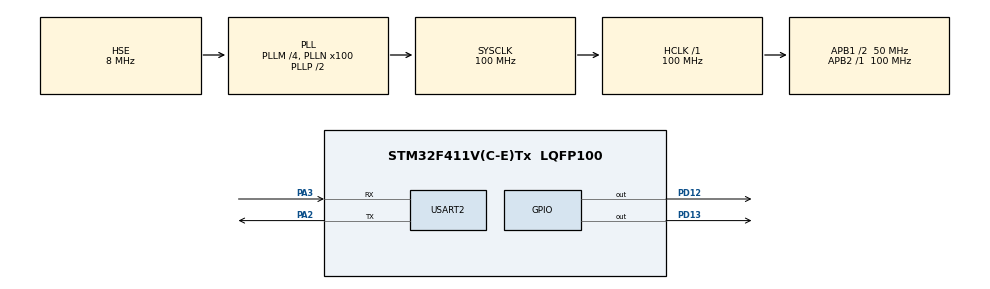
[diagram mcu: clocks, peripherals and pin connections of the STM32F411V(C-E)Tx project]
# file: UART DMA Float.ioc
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Dma.Request0=USART2_RX
Dma.Request1=USART2_TX
Dma.USART2_RX.0.Direction=DMA_PERIPH_TO_MEMORY
Dma.USART2_RX.0.FIFOMode=DMA_FIFOMODE_DISABLE
Dma.USART2_RX.0.Instance=DMA1_Stream5
Dma.USART2_RX.0.MemDataAlignment=DMA_MDATAALIGN_BYTE
Dma.USART2_RX.0.MemInc=DMA_MINC_ENABLE
Dma.USART2_RX.0.Mode=DMA_CIRCULAR
Dma.USART2_RX.0.PeriphDataAlignment=DMA_PDATAALIGN_BYTE
Dma.USART2_RX.0.PeriphInc=DMA_PINC_DISABLE
Dma.USART2_RX.0.Priority=DMA_PRIORITY_LOW
Dma.USART2_TX.1.Direction=DMA_MEMORY_TO_PERIPH
Dma.USART2_TX.1.FIFOMode=DMA_FIFOMODE_DISABLE
Dma.USART2_TX.1.Instance=DMA1_Stream6
Dma.USART2_TX.1.MemDataAlignment=DMA_MDATAALIGN_BYTE
Dma.USART2_TX.1.MemInc=DMA_MINC_ENABLE
Dma.USART2_TX.1.Mode=DMA_CIRCULAR
Dma.USART2_TX.1.PeriphDataAlignment=DMA_PDATAALIGN_BYTE
Dma.USART2_TX.1.PeriphInc=DMA_PINC_DISABLE
Dma.USART2_TX.1.Priority=DMA_PRIORITY_LOW
Mcu.Family=STM32F4
Mcu.Name=STM32F411V(C-E)Tx
Mcu.Package=LQFP100
NVIC.DMA1_Stream5_IRQn=true\:0\:0\:false\:false\:true\:false\:true
NVIC.DMA1_Stream6_IRQn=true\:0\:0\:false\:false\:true\:false\:true
NVIC.PriorityGroup=NVIC_PRIORITYGROUP_4
PA2.Mode=Asynchronous
PA2.Signal=USART2_TX
PA3.Mode=Asynchronous
PA3.Signal=USART2_RX
PD12.Signal=GPIO_Output
PD13.Signal=GPIO_Output
PH0\ -\ OSC_IN.Mode=HSE-External-Oscillator
PH0\ -\ OSC_IN.Signal=RCC_OSC_IN
PH1\ -\ OSC_OUT.Mode=HSE-External-Oscillator
PH1\ -\ OSC_OUT.Signal=RCC_OSC_OUT
ProjectManager.HeapSize=0x200
ProjectManager.StackSize=0x400
ProjectManager.TargetToolchain=MDK-ARM V5
RCC.48MHZClocksFreq_Value=50000000
RCC.AHBFreq_Value=100000000
RCC.APB1CLKDivider=RCC_HCLK_DIV2
RCC.APB1Freq_Value=50000000
RCC.APB1TimFreq_Value=100000000
RCC.APB2Freq_Value=100000000
RCC.APB2TimFreq_Value=100000000
RCC.CortexFreq_Value=100000000
RCC.HCLKFreq_Value=100000000
RCC.HSE_VALUE=8000000
RCC.HSI_VALUE=16000000
RCC.LSE_VALUE=32768
RCC.PLLM=4
RCC.PLLN=100
RCC.PLLSourceVirtual=RCC_PLLSOURCE_HSE
RCC.SYSCLKFreq_VALUE=100000000
RCC.SYSCLKSource=RCC_SYSCLKSOURCE_PLLCLK
RCC.VCOOutputFreq_Value=200000000
USART2.VirtualMode=VM_ASYNC
board=custom

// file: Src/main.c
/* USER CODE BEGIN Header */
/**
  ******************************************************************************
  * @file           : main.c
  * @brief          : Main program body
  ******************************************************************************
  * @attention
  *
  * <h2><center>&copy; Copyright (c) 2019 STMicroelectronics.
  * All rights reserved.</center></h2>
  *
  * This software component is licensed by ST under BSD 3-Clause license,
  * the "License"; You may not use this file except in compliance with the
  * License. You may obtain a copy of the License at:
  *                        opensource.org/licenses/BSD-3-Clause
  *
  ******************************************************************************
  */
/* USER CODE END Header */

#include "main.h"

UART_HandleTypeDef huart2;
DMA_HandleTypeDef hdma_usart2_rx;
DMA_HandleTypeDef hdma_usart2_tx;

/* USER CODE BEGIN PV */
__IO uint8_t txBuffer[4] = {0};
__IO uint8_t rxBuffer[4];
float nhietDoGui = 30.0;
float nhietDoNhan;
/* USER CODE END PV */

void SystemClock_Config(void);
static void MX_GPIO_Init(void);
static void MX_DMA_Init(void);
static void MX_USART2_UART_Init(void);

int main(void)
{

  /* MCU Configuration--------------------------------------------------------*/

  /* Reset of all peripherals, Initializes the Flash interface and the Systick. */
  HAL_Init();

  /* Configure the system clock */
  SystemClock_Config();

  /* Initialize all configured peripherals */
  MX_GPIO_Init();
  MX_DMA_Init();
  MX_USART2_UART_Init();
  /* USER CODE BEGIN 2 */
	HAL_UART_Receive_DMA(&huart2, rxBuffer, 4);
	HAL_UART_Transmit_DMA(&huart2, txBuffer, 4);
  /* USER CODE END 2 */

  /* Infinite loop */
  while (1)
  {

    /* USER CODE BEGIN 3 */
		//Phan Truyen
		txBuffer[0] =*((uint8_t *) &nhietDoGui);
		txBuffer[1] = *((uint8_t *) &nhietDoGui + 1);
		txBuffer[2] = *((uint8_t *) &nhietDoGui + 2);
		txBuffer[3] = *((uint8_t *) &nhietDoGui + 3);

		//Phan Nhan
		*((uint8_t * )&nhietDoNhan )= rxBuffer[0];
		*((uint8_t * )&nhietDoNhan + 1 )= rxBuffer[0];
		*((uint8_t * )&nhietDoNhan + 2 )= rxBuffer[0];
		*((uint8_t * )&nhietDoNhan + 3 )= rxBuffer[0];

		nhietDoGui ++;
		HAL_Delay(1000);
  }
  /* USER CODE END 3 */
}

void SystemClock_Config(void)
{
  RCC_OscInitTypeDef RCC_OscInitStruct = {0};
  RCC_ClkInitTypeDef RCC_ClkInitStruct = {0};

  /** Configure the main internal regulator output voltage
  */
  __HAL_RCC_PWR_CLK_ENABLE();
  __HAL_PWR_VOLTAGESCALING_CONFIG(PWR_REGULATOR_VOLTAGE_SCALE1);
  /** Initializes the CPU, AHB and APB busses clocks
  */
  RCC_OscInitStruct.OscillatorType = RCC_OSCILLATORTYPE_HSE;
  RCC_OscInitStruct.HSEState = RCC_HSE_ON;
  RCC_OscInitStruct.PLL.PLLState = RCC_PLL_ON;
  RCC_OscInitStruct.PLL.PLLSource = RCC_PLLSOURCE_HSE;
  RCC_OscInitStruct.PLL.PLLM = 4;
  RCC_OscInitStruct.PLL.PLLN = 100;
  RCC_OscInitStruct.PLL.PLLP = RCC_PLLP_DIV2;
  RCC_OscInitStruct.PLL.PLLQ = 4;
  if (HAL_RCC_OscConfig(&RCC_OscInitStruct) != HAL_OK)
  {
    Error_Handler();
  }
  /** Initializes the CPU, AHB and APB busses clocks
  */
  RCC_ClkInitStruct.ClockType = RCC_CLOCKTYPE_HCLK|RCC_CLOCKTYPE_SYSCLK
                              |RCC_CLOCKTYPE_PCLK1|RCC_CLOCKTYPE_PCLK2;
  RCC_ClkInitStruct.SYSCLKSource = RCC_SYSCLKSOURCE_PLLCLK;
  RCC_ClkInitStruct.AHBCLKDivider = RCC_SYSCLK_DIV1;
  RCC_ClkInitStruct.APB1CLKDivider = RCC_HCLK_DIV2;
  RCC_ClkInitStruct.APB2CLKDivider = RCC_HCLK_DIV1;

  if (HAL_RCC_ClockConfig(&RCC_ClkInitStruct, FLASH_LATENCY_3) != HAL_OK)
  {
    Error_Handler();
  }
}

static void MX_USART2_UART_Init(void)
{

  huart2.Instance = USART2;
  huart2.Init.BaudRate = 115200;
  huart2.Init.WordLength = UART_WORDLENGTH_8B;
  huart2.Init.StopBits = UART_STOPBITS_1;
  huart2.Init.Parity = UART_PARITY_NONE;
  huart2.Init.Mode = UART_MODE_TX_RX;
  huart2.Init.HwFlowCtl = UART_HWCONTROL_NONE;
  huart2.Init.OverSampling = UART_OVERSAMPLING_16;
  if (HAL_UART_Init(&huart2) != HAL_OK)
  {
    Error_Handler();
  }

}

static void MX_DMA_Init(void)
{
  /* DMA controller clock enable */
  __HAL_RCC_DMA1_CLK_ENABLE();

  /* DMA interrupt init */
  /* DMA1_Stream5_IRQn interrupt configuration */
  HAL_NVIC_SetPriority(DMA1_Stream5_IRQn, 0, 0);
  HAL_NVIC_EnableIRQ(DMA1_Stream5_IRQn);
  /* DMA1_Stream6_IRQn interrupt configuration */
  HAL_NVIC_SetPriority(DMA1_Stream6_IRQn, 0, 0);
  HAL_NVIC_EnableIRQ(DMA1_Stream6_IRQn);

}

static void MX_GPIO_Init(void)
{
  GPIO_InitTypeDef GPIO_InitStruct = {0};

  /* GPIO Ports Clock Enable */
  __HAL_RCC_GPIOH_CLK_ENABLE();
  __HAL_RCC_GPIOA_CLK_ENABLE();
  __HAL_RCC_GPIOD_CLK_ENABLE();

  /*Configure GPIO pin Output Level */
  HAL_GPIO_WritePin(GPIOD, GPIO_PIN_12|GPIO_PIN_13, GPIO_PIN_RESET);

  /*Configure GPIO pins : PD12 PD13 */
  GPIO_InitStruct.Pin = GPIO_PIN_12|GPIO_PIN_13;
  GPIO_InitStruct.Mode = GPIO_MODE_OUTPUT_PP;
  GPIO_InitStruct.Pull = GPIO_NOPULL;
  GPIO_InitStruct.Speed = GPIO_SPEED_FREQ_LOW;
  HAL_GPIO_Init(GPIOD, &GPIO_InitStruct);

}

void Error_Handler(void)
{
}

/************************ (C) COPYRIGHT STMicroelectronics *****END OF FILE****/
